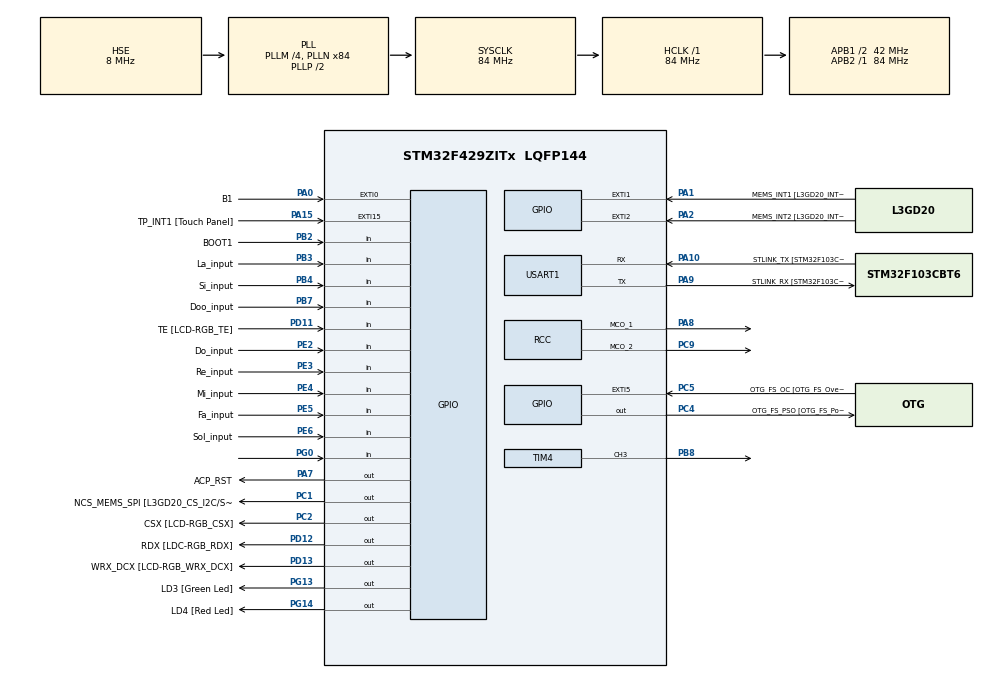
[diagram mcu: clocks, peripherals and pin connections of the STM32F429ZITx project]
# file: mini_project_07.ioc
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Mcu.Family=STM32F4
Mcu.Name=STM32F429ZITx
Mcu.Package=LQFP144
NVIC.EXTI0_IRQn=true\:0\:0\:false\:false\:true\:true\:true\:true
NVIC.PriorityGroup=NVIC_PRIORITYGROUP_4
NVIC.TIM3_IRQn=true\:0\:0\:false\:false\:true\:true\:true\:true
NVIC.TIM4_IRQn=true\:0\:0\:false\:false\:true\:true\:true\:true
PA0/WKUP.GPIO_Label=B1
PA0/WKUP.Signal=GPXTI0
PA1.GPIO_Label=MEMS_INT1 [L3GD20_INT1]
PA1.GPIO_ModeDefaultEXTI=GPIO_MODE_EVT_RISING
PA1.GPIO_PuPd=GPIO_NOPULL
PA1.Signal=GPXTI1
PA10.GPIO_Label=STLINK_TX [STM32F103CBT6_PA2]
PA10.Mode=Asynchronous
PA10.Signal=USART1_RX
PA11.GPIO_Label=R4
PA11.GPIO_Mode=GPIO_MODE_AF_PP
PA11.GPIO_PuPd=GPIO_NOPULL
PA11.GPIO_Speed=GPIO_SPEED_FREQ_LOW
PA11.Signal=LTDC_R4
PA12.GPIO_Label=R5
PA12.GPIO_Mode=GPIO_MODE_AF_PP
PA12.GPIO_PuPd=GPIO_NOPULL
PA12.GPIO_Speed=GPIO_SPEED_FREQ_LOW
PA12.Signal=LTDC_R5
PA13.GPIO_Label=SWDIO
PA13.Mode=Serial_Wire
PA13.Signal=SYS_JTMS-SWDIO
PA14.GPIO_Label=SWCLK
PA14.Mode=Serial_Wire
PA14.Signal=SYS_JTCK-SWCLK
PA15.GPIO_Label=TP_INT1 [Touch Panel]
PA15.GPIO_ModeDefaultEXTI=GPIO_MODE_EVT_RISING
PA15.GPIO_PuPd=GPIO_NOPULL
PA15.Signal=GPXTI15
PA2.GPIO_Label=MEMS_INT2 [L3GD20_INT2]
PA2.GPIO_ModeDefaultEXTI=GPIO_MODE_EVT_RISING
PA2.GPIO_PuPd=GPIO_NOPULL
PA2.Signal=GPXTI2
PA3.GPIO_Label=B5
PA3.GPIO_Mode=GPIO_MODE_AF_PP
PA3.GPIO_PuPd=GPIO_NOPULL
PA3.GPIO_Speed=GPIO_SPEED_FREQ_LOW
PA3.Signal=LTDC_B5
PA4.GPIO_Label=VSYNC
PA4.GPIO_Mode=GPIO_MODE_AF_PP
PA4.GPIO_PuPd=GPIO_NOPULL
PA4.GPIO_Speed=GPIO_SPEED_FREQ_LOW
PA4.Signal=LTDC_VSYNC
PA6.GPIO_Label=G2
PA6.GPIO_Mode=GPIO_MODE_AF_PP
PA6.GPIO_PuPd=GPIO_NOPULL
PA6.GPIO_Speed=GPIO_SPEED_FREQ_LOW
PA6.Signal=LTDC_G2
PA7.GPIO_Label=ACP_RST
PA7.GPIO_Mode=GPIO_MODE_OUTPUT_PP
PA7.GPIO_PuPd=GPIO_NOPULL
PA7.GPIO_Speed=GPIO_SPEED_FREQ_LOW
PA7.Signal=GPIO_Output
PA8.Mode=Clock-out-1
PA8.Signal=RCC_MCO_1
PA9.GPIO_Label=STLINK_RX [STM32F103CBT6_PA3]
PA9.Mode=Asynchronous
PA9.Signal=USART1_TX
PB0.GPIO_Label=R3
PB0.GPIO_Mode=GPIO_MODE_AF_PP
PB0.GPIO_PuPd=GPIO_NOPULL
PB0.GPIO_Speed=GPIO_SPEED_FREQ_LOW
PB0.Signal=LTDC_R3
PB1.GPIO_Label=R6
PB1.GPIO_Mode=GPIO_MODE_AF_PP
PB1.GPIO_PuPd=GPIO_NOPULL
PB1.GPIO_Speed=GPIO_SPEED_FREQ_LOW
PB1.Signal=LTDC_R6
PB10.GPIO_Label=G4
PB10.GPIO_Mode=GPIO_MODE_AF_PP
PB10.GPIO_PuPd=GPIO_NOPULL
PB10.GPIO_Speed=GPIO_SPEED_FREQ_LOW
PB10.Signal=LTDC_G4
PB11.GPIO_Label=G5
PB11.GPIO_Mode=GPIO_MODE_AF_PP
PB11.GPIO_PuPd=GPIO_NOPULL
PB11.GPIO_Speed=GPIO_SPEED_FREQ_LOW
PB11.Signal=LTDC_G5
PB12.GPIO_Label=OTG_HS_ID
PB12.GPIO_Mode=GPIO_MODE_AF_PP
PB12.GPIO_PuPd=GPIO_NOPULL
PB12.GPIO_Speed=GPIO_SPEED_FREQ_LOW
PB12.Signal=USB_OTG_HS_ID
PB13.GPIO_Label=VBUS_HS
PB13.GPIO_Mode=GPIO_MODE_INPUT
PB13.GPIO_PuPd=GPIO_NOPULL
PB13.Signal=USB_OTG_HS_VBUS
PB14.GPIO_Label=OTG_HS_DM
PB14.GPIO_Mode=GPIO_MODE_AF_PP
PB14.GPIO_PuPd=GPIO_NOPULL
PB14.GPIO_Speed=GPIO_SPEED_FREQ_LOW
PB14.Signal=USB_OTG_HS_DM
PB15.GPIO_Label=OTG_HS_DP
PB15.GPIO_Mode=GPIO_MODE_AF_PP
PB15.GPIO_PuPd=GPIO_NOPULL
PB15.GPIO_Speed=GPIO_SPEED_FREQ_LOW
PB15.Signal=USB_OTG_HS_DP
PB2/BOOT1.GPIO_Label=BOOT1
PB2/BOOT1.GPIO_Mode=GPIO_MODE_INPUT
PB2/BOOT1.GPIO_PuPd=GPIO_NOPULL
PB2/BOOT1.Signal=GPIO_Input
PB3.GPIO_Label=La_input
PB3.GPIO_PuPd=GPIO_PULLDOWN
PB3.Signal=GPIO_Input
PB4.GPIO_Label=Si_input
PB4.GPIO_PuPd=GPIO_PULLDOWN
PB4.Signal=GPIO_Input
PB5.GPIO_Label=SDCKE1
PB5.GPIO_Mode=GPIO_MODE_AF_PP
PB5.GPIO_PuPd=GPIO_NOPULL
PB5.GPIO_Speed=GPIO_SPEED_FREQ_VERY_HIGH
PB5.Signal=FMC_SDCKE1
PB6.GPIO_Label=SDNE1 [SDRAM_CS]
PB6.GPIO_Mode=GPIO_MODE_AF_PP
PB6.GPIO_PuPd=GPIO_NOPULL
PB6.GPIO_Speed=GPIO_SPEED_FREQ_VERY_HIGH
PB6.Signal=FMC_SDNE1
PB7.GPIO_Label=Doo_input
PB7.GPIO_PuPd=GPIO_PULLDOWN
PB7.Signal=GPIO_Input
PB8.Signal=S_TIM4_CH3
PB9.GPIO_Label=B7
PB9.GPIO_Mode=GPIO_MODE_AF_PP
PB9.GPIO_PuPd=GPIO_NOPULL
PB9.GPIO_Speed=GPIO_SPEED_FREQ_LOW
PB9.Signal=LTDC_B7
PC0.GPIO_Label=SDNWE
PC0.GPIO_Mode=GPIO_MODE_AF_PP
PC0.GPIO_PuPd=GPIO_NOPULL
PC0.GPIO_Speed=GPIO_SPEED_FREQ_VERY_HIGH
PC0.Signal=FMC_SDNWE
PC1.GPIO_Label=NCS_MEMS_SPI [L3GD20_CS_I2C/SPI]
PC1.GPIO_Mode=GPIO_MODE_OUTPUT_PP
PC1.GPIO_PuPd=GPIO_NOPULL
PC1.GPIO_Speed=GPIO_SPEED_FREQ_LOW
PC1.Signal=GPIO_Output
PC10.GPIO_Label=R2
PC10.GPIO_Mode=GPIO_MODE_AF_PP
PC10.GPIO_PuPd=GPIO_NOPULL
PC10.GPIO_Speed=GPIO_SPEED_FREQ_LOW
PC10.Signal=LTDC_R2
PC14/OSC32_IN.GPIO_Label=PC14-OSC32_IN
PC14/OSC32_IN.Signal=RCC_OSC32_IN
PC15/OSC32_OUT.GPIO_Label=PC15-OSC32_OUT
PC15/OSC32_OUT.Signal=RCC_OSC32_OUT
PC2.GPIO_Label=CSX [LCD-RGB_CSX]
PC2.GPIO_Mode=GPIO_MODE_OUTPUT_PP
PC2.GPIO_PuPd=GPIO_NOPULL
PC2.GPIO_Speed=GPIO_SPEED_FREQ_LOW
PC2.Signal=GPIO_Output
PC4.GPIO_Label=OTG_FS_PSO [OTG_FS_PowerSwitchOn]
PC4.GPIO_Mode=GPIO_MODE_OUTPUT_PP
PC4.GPIO_PuPd=GPIO_NOPULL
PC4.GPIO_Speed=GPIO_SPEED_FREQ_LOW
PC4.Signal=GPIO_Output
PC5.GPIO_Label=OTG_FS_OC [OTG_FS_OverCurrent]
PC5.GPIO_ModeDefaultEXTI=GPIO_MODE_EVT_RISING
PC5.Signal=GPXTI5
PC6.GPIO_Label=HSYNC
PC6.GPIO_Mode=GPIO_MODE_AF_PP
PC6.GPIO_PuPd=GPIO_NOPULL
PC6.GPIO_Speed=GPIO_SPEED_FREQ_LOW
PC6.Signal=LTDC_HSYNC
PC7.GPIO_Label=G6
PC7.GPIO_Mode=GPIO_MODE_AF_PP
PC7.GPIO_PuPd=GPIO_NOPULL
PC7.GPIO_Speed=GPIO_SPEED_FREQ_LOW
PC7.Signal=LTDC_G6
PC9.Mode=Clock-out-2
PC9.Signal=RCC_MCO_2
PD0.GPIO_Label=D2
PD0.GPIO_Mode=GPIO_MODE_AF_PP
PD0.GPIO_PuPd=GPIO_NOPULL
PD0.GPIO_Speed=GPIO_SPEED_FREQ_VERY_HIGH
PD0.Signal=FMC_D2_DA2
PD1.GPIO_Label=D3
PD1.GPIO_Mode=GPIO_MODE_AF_PP
PD1.GPIO_PuPd=GPIO_NOPULL
PD1.GPIO_Speed=GPIO_SPEED_FREQ_VERY_HIGH
PD1.Signal=FMC_D3_DA3
PD10.GPIO_Label=D15
PD10.GPIO_Mode=GPIO_MODE_AF_PP
PD10.GPIO_PuPd=GPIO_NOPULL
PD10.GPIO_Speed=GPIO_SPEED_FREQ_VERY_HIGH
PD10.Signal=FMC_D15_DA15
PD11.GPIO_Label=TE [LCD-RGB_TE]
PD11.GPIO_Mode=GPIO_MODE_INPUT
PD11.GPIO_PuPd=GPIO_NOPULL
PD11.Signal=GPIO_Input
PD12.GPIO_Label=RDX [LDC-RGB_RDX]
PD12.GPIO_Mode=GPIO_MODE_OUTPUT_PP
PD12.GPIO_PuPd=GPIO_NOPULL
PD12.GPIO_Speed=GPIO_SPEED_FREQ_LOW
PD12.Signal=GPIO_Output
PD13.GPIO_Label=WRX_DCX [LCD-RGB_WRX_DCX]
PD13.GPIO_Mode=GPIO_MODE_OUTPUT_PP
PD13.GPIO_PuPd=GPIO_NOPULL
PD13.GPIO_Speed=GPIO_SPEED_FREQ_LOW
PD13.Signal=GPIO_Output
PD14.GPIO_Label=D0
PD14.GPIO_Mode=GPIO_MODE_AF_PP
PD14.GPIO_PuPd=GPIO_NOPULL
PD14.GPIO_Speed=GPIO_SPEED_FREQ_VERY_HIGH
PD14.Signal=FMC_D0_DA0
PD15.GPIO_Label=D1
PD15.GPIO_Mode=GPIO_MODE_AF_PP
PD15.GPIO_PuPd=GPIO_NOPULL
PD15.GPIO_Speed=GPIO_SPEED_FREQ_VERY_HIGH
PD15.Signal=FMC_D1_DA1
PD3.GPIO_Label=G7
PD3.GPIO_Mode=GPIO_MODE_AF_PP
PD3.GPIO_PuPd=GPIO_NOPULL
PD3.GPIO_Speed=GPIO_SPEED_FREQ_LOW
PD3.Signal=LTDC_G7
PD6.GPIO_Label=B2
PD6.GPIO_Mode=GPIO_MODE_AF_PP
PD6.GPIO_PuPd=GPIO_NOPULL
PD6.GPIO_Speed=GPIO_SPEED_FREQ_LOW
PD6.Signal=LTDC_B2
PD8.GPIO_Label=D13
PD8.GPIO_Mode=GPIO_MODE_AF_PP
PD8.GPIO_PuPd=GPIO_NOPULL
PD8.GPIO_Speed=GPIO_SPEED_FREQ_VERY_HIGH
PD8.Signal=FMC_D13_DA13
PD9.GPIO_Label=D14
PD9.GPIO_Mode=GPIO_MODE_AF_PP
PD9.GPIO_PuPd=GPIO_NOPULL
PD9.GPIO_Speed=GPIO_SPEED_FREQ_VERY_HIGH
PD9.Signal=FMC_D14_DA14
PE0.GPIO_Label=NBL0 [SDRAM_LDQM]
PE0.GPIO_Mode=GPIO_MODE_AF_PP
PE0.GPIO_PuPd=GPIO_NOPULL
PE0.GPIO_Speed=GPIO_SPEED_FREQ_VERY_HIGH
PE0.Signal=FMC_NBL0
PE1.GPIO_Label=NBL1 [SDRAM_UDQM]
PE1.GPIO_Mode=GPIO_MODE_AF_PP
PE1.GPIO_PuPd=GPIO_NOPULL
PE1.GPIO_Speed=GPIO_SPEED_FREQ_VERY_HIGH
PE1.Signal=FMC_NBL1
PE10.GPIO_Label=D7
PE10.GPIO_Mode=GPIO_MODE_AF_PP
PE10.GPIO_PuPd=GPIO_NOPULL
PE10.GPIO_Speed=GPIO_SPEED_FREQ_VERY_HIGH
PE10.Signal=FMC_D7_DA7
PE11.GPIO_Label=D8
PE11.GPIO_Mode=GPIO_MODE_AF_PP
PE11.GPIO_PuPd=GPIO_NOPULL
PE11.GPIO_Speed=GPIO_SPEED_FREQ_VERY_HIGH
PE11.Signal=FMC_D8_DA8
PE12.GPIO_Label=D9
PE12.GPIO_Mode=GPIO_MODE_AF_PP
PE12.GPIO_PuPd=GPIO_NOPULL
PE12.GPIO_Speed=GPIO_SPEED_FREQ_VERY_HIGH
PE12.Signal=FMC_D9_DA9
PE13.GPIO_Label=D10
PE13.GPIO_Mode=GPIO_MODE_AF_PP
PE13.GPIO_PuPd=GPIO_NOPULL
PE13.GPIO_Speed=GPIO_SPEED_FREQ_VERY_HIGH
PE13.Signal=FMC_D10_DA10
PE14.GPIO_Label=D11
PE14.GPIO_Mode=GPIO_MODE_AF_PP
PE14.GPIO_PuPd=GPIO_NOPULL
PE14.GPIO_Speed=GPIO_SPEED_FREQ_VERY_HIGH
PE14.Signal=FMC_D11_DA11
PE15.GPIO_Label=D12
PE15.GPIO_Mode=GPIO_MODE_AF_PP
PE15.GPIO_PuPd=GPIO_NOPULL
PE15.GPIO_Speed=GPIO_SPEED_FREQ_VERY_HIGH
PE15.Signal=FMC_D12_DA12
PE2.GPIO_Label=Do_input
PE2.GPIO_PuPd=GPIO_PULLDOWN
PE2.Signal=GPIO_Input
PE3.GPIO_Label=Re_input
PE3.GPIO_PuPd=GPIO_PULLDOWN
PE3.Signal=GPIO_Input
PE4.GPIO_Label=Mi_input
PE4.GPIO_PuPd=GPIO_PULLDOWN
PE4.Signal=GPIO_Input
PE5.GPIO_Label=Fa_input
PE5.GPIO_PuPd=GPIO_PULLDOWN
PE5.Signal=GPIO_Input
PE6.GPIO_Label=Sol_input
PE6.GPIO_PuPd=GPIO_PULLDOWN
PE6.Signal=GPIO_Input
PE7.GPIO_Label=D4
PE7.GPIO_Mode=GPIO_MODE_AF_PP
PE7.GPIO_PuPd=GPIO_NOPULL
PE7.GPIO_Speed=GPIO_SPEED_FREQ_VERY_HIGH
PE7.Signal=FMC_D4_DA4
PE8.GPIO_Label=D5
PE8.GPIO_Mode=GPIO_MODE_AF_PP
PE8.GPIO_PuPd=GPIO_NOPULL
PE8.GPIO_Speed=GPIO_SPEED_FREQ_VERY_HIGH
PE8.Signal=FMC_D5_DA5
PE9.GPIO_Label=D6
PE9.GPIO_Mode=GPIO_MODE_AF_PP
PE9.GPIO_PuPd=GPIO_NOPULL
PE9.GPIO_Speed=GPIO_SPEED_FREQ_VERY_HIGH
PE9.Signal=FMC_D6_DA6
PF0.GPIO_Label=A0
PF0.GPIO_Mode=GPIO_MODE_AF_PP
PF0.GPIO_PuPd=GPIO_NOPULL
PF0.GPIO_Speed=GPIO_SPEED_FREQ_VERY_HIGH
PF0.Signal=FMC_A0
PF1.GPIO_Label=A1
PF1.GPIO_Mode=GPIO_MODE_AF_PP
PF1.GPIO_PuPd=GPIO_NOPULL
PF1.GPIO_Speed=GPIO_SPEED_FREQ_VERY_HIGH
PF1.Signal=FMC_A1
PF10.GPIO_Label=ENABLE [LCD-RGB_ENABLE]
PF10.GPIO_Mode=GPIO_MODE_AF_PP
PF10.GPIO_PuPd=GPIO_NOPULL
PF10.GPIO_Speed=GPIO_SPEED_FREQ_LOW
PF10.Signal=LTDC_DE
PF11.GPIO_Label=SDNRAS
PF11.GPIO_Mode=GPIO_MODE_AF_PP
PF11.GPIO_PuPd=GPIO_NOPULL
PF11.GPIO_Speed=GPIO_SPEED_FREQ_VERY_HIGH
PF11.Signal=FMC_SDNRAS
PF12.GPIO_Label=A6
PF12.GPIO_Mode=GPIO_MODE_AF_PP
PF12.GPIO_PuPd=GPIO_NOPULL
PF12.GPIO_Speed=GPIO_SPEED_FREQ_VERY_HIGH
PF12.Signal=FMC_A6
PF13.GPIO_Label=A7
PF13.GPIO_Mode=GPIO_MODE_AF_PP
PF13.GPIO_PuPd=GPIO_NOPULL
PF13.GPIO_Speed=GPIO_SPEED_FREQ_VERY_HIGH
PF13.Signal=FMC_A7
PF14.GPIO_Label=A8
PF14.GPIO_Mode=GPIO_MODE_AF_PP
PF14.GPIO_PuPd=GPIO_NOPULL
PF14.GPIO_Speed=GPIO_SPEED_FREQ_VERY_HIGH
PF14.Signal=FMC_A8
PF15.GPIO_Label=A9
PF15.GPIO_Mode=GPIO_MODE_AF_PP
PF15.GPIO_PuPd=GPIO_NOPULL
PF15.GPIO_Speed=GPIO_SPEED_FREQ_VERY_HIGH
PF15.Signal=FMC_A9
PF2.GPIO_Label=A2
PF2.GPIO_Mode=GPIO_MODE_AF_PP
PF2.GPIO_PuPd=GPIO_NOPULL
PF2.GPIO_Speed=GPIO_SPEED_FREQ_VERY_HIGH
PF2.Signal=FMC_A2
PF3.GPIO_Label=A3
PF3.GPIO_Mode=GPIO_MODE_AF_PP
PF3.GPIO_PuPd=GPIO_NOPULL
PF3.GPIO_Speed=GPIO_SPEED_FREQ_VERY_HIGH
PF3.Signal=FMC_A3
PF4.GPIO_Label=A4
PF4.GPIO_Mode=GPIO_MODE_AF_PP
PF4.GPIO_PuPd=GPIO_NOPULL
PF4.GPIO_Speed=GPIO_SPEED_FREQ_VERY_HIGH
PF4.Signal=FMC_A4
PF5.GPIO_Label=A5
PF5.GPIO_Mode=GPIO_MODE_AF_PP
PF5.GPIO_PuPd=GPIO_NOPULL
PF5.GPIO_Speed=GPIO_SPEED_FREQ_VERY_HIGH
PF5.Signal=FMC_A5
PF7.GPIO_Label=SPI5_SCK [L3GD20_SCL/SPC]
PF7.GPIO_Mode=GPIO_MODE_AF_PP
PF7.GPIO_PuPd=GPIO_NOPULL
PF7.GPIO_Speed=GPIO_SPEED_FREQ_LOW
PF7.Signal=SPI5_SCK
PF8.GPIO_Label=SPI5_MISO [L3GD20_SDO]
PF8.GPIO_Mode=GPIO_MODE_AF_PP
PF8.GPIO_PuPd=GPIO_NOPULL
PF8.GPIO_Speed=GPIO_SPEED_FREQ_LOW
PF8.Signal=SPI5_MISO
PF9.GPIO_Label=SPI5_MOSI [L3GD20_SDA/SDI/SDO]
PF9.GPIO_Mode=GPIO_MODE_AF_PP
PF9.GPIO_PuPd=GPIO_NOPULL
PF9.GPIO_Speed=GPIO_SPEED_FREQ_LOW
PF9.Signal=SPI5_MOSI
PG0.Signal=GPIO_Input
PG1.GPIO_Label=A11
PG1.GPIO_Mode=GPIO_MODE_AF_PP
PG1.GPIO_PuPd=GPIO_NOPULL
PG1.GPIO_Speed=GPIO_SPEED_FREQ_VERY_HIGH
PG1.Signal=FMC_A11
PG10.GPIO_Label=G3
PG10.GPIO_Mode=GPIO_MODE_AF_PP
PG10.GPIO_PuPd=GPIO_NOPULL
PG10.GPIO_Speed=GPIO_SPEED_FREQ_LOW
PG10.Signal=LTDC_G3
PG11.GPIO_Label=B3
PG11.GPIO_Mode=GPIO_MODE_AF_PP
PG11.GPIO_PuPd=GPIO_NOPULL
PG11.GPIO_Speed=GPIO_SPEED_FREQ_LOW
PG11.Signal=LTDC_B3
PG12.GPIO_Label=B4
PG12.GPIO_Mode=GPIO_MODE_AF_PP
PG12.GPIO_PuPd=GPIO_NOPULL
PG12.GPIO_Speed=GPIO_SPEED_FREQ_LOW
PG12.Signal=LTDC_B4
PG13.GPIO_Label=LD3 [Green Led]
PG13.GPIO_Mode=GPIO_MODE_OUTPUT_PP
PG13.GPIO_PuPd=GPIO_NOPULL
PG13.GPIO_Speed=GPIO_SPEED_FREQ_LOW
PG13.Signal=GPIO_Output
PG14.GPIO_Label=LD4 [Red Led]
PG14.GPIO_Mode=GPIO_MODE_OUTPUT_PP
PG14.GPIO_PuPd=GPIO_NOPULL
PG14.GPIO_Speed=GPIO_SPEED_FREQ_LOW
PG14.Signal=GPIO_Output
PG15.GPIO_Label=SDNCAS
PG15.GPIO_Mode=GPIO_MODE_AF_PP
PG15.GPIO_PuPd=GPIO_NOPULL
PG15.GPIO_Speed=GPIO_SPEED_FREQ_VERY_HIGH
PG15.Signal=FMC_SDNCAS
PG4.GPIO_Label=BA0
PG4.GPIO_Mode=GPIO_MODE_AF_PP
PG4.GPIO_PuPd=GPIO_NOPULL
PG4.GPIO_Speed=GPIO_SPEED_FREQ_VERY_HIGH
PG4.Signal=FMC_A14_BA0
PG5.GPIO_Label=BA1
PG5.GPIO_Mode=GPIO_MODE_AF_PP
PG5.GPIO_PuPd=GPIO_NOPULL
PG5.GPIO_Speed=GPIO_SPEED_FREQ_VERY_HIGH
PG5.Signal=FMC_A15_BA1
PG6.GPIO_Label=R7
PG6.GPIO_Mode=GPIO_MODE_AF_PP
PG6.GPIO_PuPd=GPIO_NOPULL
PG6.GPIO_Speed=GPIO_SPEED_FREQ_LOW
PG6.Signal=LTDC_R7
PG7.GPIO_Label=DOTCLK [LCT-RGB_DOTCLK]
PG7.GPIO_Mode=GPIO_MODE_AF_PP
PG7.GPIO_PuPd=GPIO_NOPULL
PG7.GPIO_Speed=GPIO_SPEED_FREQ_LOW
PG7.Signal=LTDC_CLK
PG8.GPIO_Label=SDCLK
PG8.GPIO_Mode=GPIO_MODE_AF_PP
PG8.GPIO_PuPd=GPIO_NOPULL
PG8.GPIO_Speed=GPIO_SPEED_FREQ_VERY_HIGH
PG8.Signal=FMC_SDCLK
PH0/OSC_IN.GPIO_Label=PH0-OSC_IN
PH0/OSC_IN.Mode=HSE-External-Oscillator
PH0/OSC_IN.Signal=RCC_OSC_IN
PH1/OSC_OUT.GPIO_Label=PH1-OSC_OUT
PH1/OSC_OUT.Mode=HSE-External-Oscillator
PH1/OSC_OUT.Signal=RCC_OSC_OUT
ProjectManager.HeapSize=0x200
ProjectManager.StackSize=0x400
ProjectManager.TargetToolchain=STM32CubeIDE
RCC.48MHZClocksFreq_Value=56000000
RCC.AHBFreq_Value=84000000
RCC.APB1CLKDivider=RCC_HCLK_DIV2
RCC.APB1Freq_Value=42000000
RCC.APB1TimFreq_Value=84000000
RCC.APB2Freq_Value=84000000
RCC.APB2TimFreq_Value=84000000
RCC.CortexFreq_Value=84000000
RCC.HCLKFreq_Value=84000000
RCC.HSE_VALUE=8000000
RCC.HSI_VALUE=16000000
RCC.LSE_VALUE=32768
RCC.PLLM=4
RCC.PLLN=84
RCC.PLLQ=3
RCC.PLLSAIN=50
RCC.PLLSourceVirtual=RCC_PLLSOURCE_HSE
RCC.SYSCLKFreq_VALUE=84000000
RCC.SYSCLKSource=RCC_SYSCLKSOURCE_PLLCLK
RCC.VCOOutputFreq_Value=168000000
SH.FMC_A0.0=FMC_A0
SH.FMC_A1.0=FMC_A1
SH.FMC_A11.0=FMC_A11
SH.FMC_A14_BA0.0=FMC_BA0
SH.FMC_A15_BA1.0=FMC_BA1
SH.FMC_A2.0=FMC_A2
SH.FMC_A3.0=FMC_A3
SH.FMC_A4.0=FMC_A4
SH.FMC_A5.0=FMC_A5
SH.FMC_A6.0=FMC_A6
SH.FMC_A7.0=FMC_A7
SH.FMC_A8.0=FMC_A8
SH.FMC_A9.0=FMC_A9
SH.FMC_D0_DA0.0=FMC_D0
SH.FMC_D10_DA10.0=FMC_D10
SH.FMC_D11_DA11.0=FMC_D11
SH.FMC_D12_DA12.0=FMC_D12
SH.FMC_D13_DA13.0=FMC_D13
SH.FMC_D14_DA14.0=FMC_D14
SH.FMC_D15_DA15.0=FMC_D15
SH.FMC_D1_DA1.0=FMC_D1
SH.FMC_D2_DA2.0=FMC_D2
SH.FMC_D3_DA3.0=FMC_D3
SH.FMC_D4_DA4.0=FMC_D4
SH.FMC_D5_DA5.0=FMC_D5
SH.FMC_D6_DA6.0=FMC_D6
SH.FMC_D7_DA7.0=FMC_D7
SH.FMC_D8_DA8.0=FMC_D8
SH.FMC_D9_DA9.0=FMC_D9
SH.FMC_NBL0.0=FMC_NBL0
SH.FMC_NBL1.0=FMC_NBL1
SH.FMC_SDCLK.0=FMC_SDCLK
SH.FMC_SDNCAS.0=FMC_SDNCAS
SH.FMC_SDNRAS.0=FMC_SDNRAS
SH.FMC_SDNWE.0=FMC_SDNWE
SH.S_TIM4_CH3.0=TIM4_CH3,PWM Generation3 CH3
TIM3.Channel-PWM\ Generation3\ No\ Output=TIM_CHANNEL_3
TIM3.Prescaler=255
TIM4.AutoReloadPreload=TIM_AUTORELOAD_PRELOAD_ENABLE
TIM4.Channel-PWM\ Generation3\ CH3=TIM_CHANNEL_3
TIM4.CounterMode=TIM_COUNTERMODE_DOWN
TIM4.Period=1000
TIM4.Prescaler=83
TIM4.Pulse-PWM\ Generation3\ CH3=500
USART1.VirtualMode=VM_ASYNC
VP_TIM3_VS_ClockSourceINT.Mode=Internal
VP_TIM3_VS_no_output3.Mode=PWM Generation3 No Output
VP_TIM4_VS_ClockSourceINT.Mode=Internal
board=STM32F429I-DISC1

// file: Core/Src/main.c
/* USER CODE BEGIN Header */
/**
  ******************************************************************************
  * @file           : main.c
  * @brief          : Main program body
  ******************************************************************************
  * @attention
  *
  * Copyright (c) 2022 STMicroelectronics.
  * All rights reserved.
  *
  * This software is licensed under terms that can be found in the LICENSE file
  * in the root directory of this software component.
  * If no LICENSE file comes with this software, it is provided AS-IS.
  *
  ******************************************************************************
  */
/* USER CODE END Header */
#include "main.h"

/* USER CODE BEGIN Includes */
#include <stdio.h>
#include <string.h>

/* USER CODE END Includes */

/* USER CODE BEGIN PTD */
extern unsigned int hwtick;
/* USER CODE END PTD */

TIM_HandleTypeDef htim3;
TIM_HandleTypeDef htim4;

UART_HandleTypeDef huart1;

void SystemClock_Config(void);
static void MX_GPIO_Init(void);
static void MX_USART1_UART_Init(void);
static void MX_TIM4_Init(void);
static void MX_TIM3_Init(void);

/* USER CODE BEGIN 0 */
int __io_putchar(int ch)
{
 if ( ch == '\n' )
	 HAL_UART_Transmit(&huart1, (uint8_t*)&"\r", 1, HAL_MAX_DELAY);
 HAL_UART_Transmit(&huart1, (uint8_t*)&ch, 1, HAL_MAX_DELAY);
 return ch;
}

int __io_getchar(void)
{
	uint8_t ch;

	while( HAL_OK != HAL_UART_Receive(&huart1, &ch, 1, HAL_MAX_DELAY) )
	{
		;
	}
	return ch;
}

void playKey(int k){
	switch(k){
	case 1:
		TIM4->PSC = 383;
		TIM4->CCR3 = 500;
		break;
	case 2:
		TIM4->PSC = 340;
		TIM4->CCR3 = 500;
		break;
	case 3:
		TIM4->PSC = 304;
		TIM4->CCR3 = 500;
		break;
	case 4 :
		TIM4->PSC = 287;
		TIM4->CCR3 = 500;
			break;
	case 5 :
		TIM4->PSC = 255;
		TIM4->CCR3 = 500;
			break;
	case 6 :
		TIM4->PSC = 227;
		TIM4->CCR3 = 500;
			break;
	case 7 :
		TIM4->PSC = 202;
		TIM4->CCR3 = 500;
			break;
	case 8  :
		TIM4->PSC = 191;
		TIM4->CCR3 = 500;
			break;
	default:
		TIM4->CCR3 = 0;
			break;
	}
}
void playRecord(uint32_t** rec){

}
/* USER CODE END 0 */

int main(void)
{
  /* USER CODE BEGIN 1 */
	uint32_t rec[100][2]={0,};
	int i=1;
	int cntNow =0;
	int playingKey = 0;
	int isRecording = 0;
	int prev_Doo_State=0;
	int curr_Doo_State=0;
  /* USER CODE END 1 */

  /* MCU Configuration--------------------------------------------------------*/

  /* Reset of all peripherals, Initializes the Flash interface and the Systick. */
  HAL_Init();

  /* Configure the system clock */
  SystemClock_Config();

  /* Initialize all configured peripherals */
  MX_GPIO_Init();
  MX_USART1_UART_Init();
  MX_TIM4_Init();
  MX_TIM3_Init();
  /* USER CODE BEGIN 2 */

  //HAL_TIM_Base_Start_IT(&htim4);
  HAL_TIM_PWM_Start(&htim4, TIM_CHANNEL_3);
  HAL_TIM_Base_Start(&htim3);
  /* USER CODE END 2 */

  /* Infinite loop */
  /* USER CODE BEGIN WHILE */
  while (1)
  {
	  if(HAL_GPIO_ReadPin(Do_input_GPIO_Port,Do_input_Pin))      playingKey = 1;
	        else if(HAL_GPIO_ReadPin(Re_input_GPIO_Port,Re_input_Pin)) playingKey = 2;
	        else if(HAL_GPIO_ReadPin(Mi_input_GPIO_Port,Mi_input_Pin)) playingKey = 3;
	        else if(HAL_GPIO_ReadPin(Fa_input_GPIO_Port,Fa_input_Pin)) playingKey = 4;
	        else if(HAL_GPIO_ReadPin(Sol_input_GPIO_Port,Sol_input_Pin)) playingKey = 5;
	        else if(HAL_GPIO_ReadPin(La_input_GPIO_Port,La_input_Pin))   playingKey = 6;
	        else if(HAL_GPIO_ReadPin(Si_input_GPIO_Port,Si_input_Pin))   playingKey = 7;
	        else if(HAL_GPIO_ReadPin(Doo_input_GPIO_Port,Doo_input_Pin))  ;

	        else playingKey = 0;
	  	  curr_Doo_State = HAL_GPIO_ReadPin(Doo_input_GPIO_Port, Doo_input_Pin);

	          if (prev_Doo_State == 0 && curr_Doo_State == 1)
	          {
	              if (isRecording == 0) {
	                  i = 1;

	                  rec[0][0] = TIM3->CNT;
	                  rec[0][1] = 0;

	                  isRecording = 1;
	              }
	              else {
	                  isRecording = 0;
	                  playKey(0);

	                  for (int j = 1; j < i; j++)
	                  {
	                      playKey(rec[j][1]);

	                      uint32_t duration = 0;
	                      uint32_t current_time = rec[j][0];
	                      uint32_t next_time = 0;

	                      if (j < i - 1) next_time = rec[j+1][0];
	                      else next_time = current_time + 1000;

	                      if (next_time >= current_time) {
	                          duration = next_time - current_time;
	                      } else {
	                          duration = (65535 - current_time) + next_time;
	                      }

	                      if (duration > 0) HAL_Delay(duration / 41);
	                      else HAL_Delay(10);
	                  }

	                  playKey(0);
	                  printf("Playback Finished.\n");
	              }
	          }
	          prev_Doo_State = curr_Doo_State;

	          playKey(playingKey);

	          if (isRecording == 1) {
	              if (rec[i-1][1] != playingKey && i < 99) {
	                  rec[i][0] = TIM3->CNT;
	                  rec[i][1] = playingKey;
	                  i++;
	              }
	          }

	          HAL_Delay(10);
	      }
    /* USER CODE END WHILE */

}

void SystemClock_Config(void)
{
  RCC_OscInitTypeDef RCC_OscInitStruct = {0};
  RCC_ClkInitTypeDef RCC_ClkInitStruct = {0};

  /** Configure the main internal regulator output voltage
  */
  __HAL_RCC_PWR_CLK_ENABLE();
  __HAL_PWR_VOLTAGESCALING_CONFIG(PWR_REGULATOR_VOLTAGE_SCALE3);

  /** Initializes the RCC Oscillators according to the specified parameters
  * in the RCC_OscInitTypeDef structure.
  */
  RCC_OscInitStruct.OscillatorType = RCC_OSCILLATORTYPE_HSI|RCC_OSCILLATORTYPE_HSE;
  RCC_OscInitStruct.HSEState = RCC_HSE_ON;
  RCC_OscInitStruct.HSIState = RCC_HSI_ON;
  RCC_OscInitStruct.HSICalibrationValue = RCC_HSICALIBRATION_DEFAULT;
  RCC_OscInitStruct.PLL.PLLState = RCC_PLL_ON;
  RCC_OscInitStruct.PLL.PLLSource = RCC_PLLSOURCE_HSE;
  RCC_OscInitStruct.PLL.PLLM = 4;
  RCC_OscInitStruct.PLL.PLLN = 84;
  RCC_OscInitStruct.PLL.PLLP = RCC_PLLP_DIV2;
  RCC_OscInitStruct.PLL.PLLQ = 3;
  if (HAL_RCC_OscConfig(&RCC_OscInitStruct) != HAL_OK)
  {
    Error_Handler();
  }

  /** Initializes the CPU, AHB and APB buses clocks
  */
  RCC_ClkInitStruct.ClockType = RCC_CLOCKTYPE_HCLK|RCC_CLOCKTYPE_SYSCLK
                              |RCC_CLOCKTYPE_PCLK1|RCC_CLOCKTYPE_PCLK2;
  RCC_ClkInitStruct.SYSCLKSource = RCC_SYSCLKSOURCE_PLLCLK;
  RCC_ClkInitStruct.AHBCLKDivider = RCC_SYSCLK_DIV1;
  RCC_ClkInitStruct.APB1CLKDivider = RCC_HCLK_DIV2;
  RCC_ClkInitStruct.APB2CLKDivider = RCC_HCLK_DIV1;

  if (HAL_RCC_ClockConfig(&RCC_ClkInitStruct, FLASH_LATENCY_2) != HAL_OK)
  {
    Error_Handler();
  }
  HAL_RCC_MCOConfig(RCC_MCO1, RCC_MCO1SOURCE_HSI, RCC_MCODIV_1);
  HAL_RCC_MCOConfig(RCC_MCO2, RCC_MCO2SOURCE_SYSCLK, RCC_MCODIV_1);
}

static void MX_TIM3_Init(void)
{

  TIM_ClockConfigTypeDef sClockSourceConfig = {0};
  TIM_MasterConfigTypeDef sMasterConfig = {0};
  TIM_OC_InitTypeDef sConfigOC = {0};

  htim3.Instance = TIM3;
  htim3.Init.Prescaler = 2047;
  htim3.Init.CounterMode = TIM_COUNTERMODE_UP;
  htim3.Init.Period = 65535;
  htim3.Init.ClockDivision = TIM_CLOCKDIVISION_DIV1;
  htim3.Init.AutoReloadPreload = TIM_AUTORELOAD_PRELOAD_DISABLE;
  if (HAL_TIM_Base_Init(&htim3) != HAL_OK)
  {
    Error_Handler();
  }
  sClockSourceConfig.ClockSource = TIM_CLOCKSOURCE_INTERNAL;
  if (HAL_TIM_ConfigClockSource(&htim3, &sClockSourceConfig) != HAL_OK)
  {
    Error_Handler();
  }
  if (HAL_TIM_PWM_Init(&htim3) != HAL_OK)
  {
    Error_Handler();
  }
  sMasterConfig.MasterOutputTrigger = TIM_TRGO_RESET;
  sMasterConfig.MasterSlaveMode = TIM_MASTERSLAVEMODE_DISABLE;
  if (HAL_TIMEx_MasterConfigSynchronization(&htim3, &sMasterConfig) != HAL_OK)
  {
    Error_Handler();
  }
  sConfigOC.OCMode = TIM_OCMODE_PWM1;
  sConfigOC.Pulse = 0;
  sConfigOC.OCPolarity = TIM_OCPOLARITY_HIGH;
  sConfigOC.OCFastMode = TIM_OCFAST_DISABLE;
  if (HAL_TIM_PWM_ConfigChannel(&htim3, &sConfigOC, TIM_CHANNEL_3) != HAL_OK)
  {
    Error_Handler();
  }

}

static void MX_TIM4_Init(void)
{

  TIM_ClockConfigTypeDef sClockSourceConfig = {0};
  TIM_MasterConfigTypeDef sMasterConfig = {0};
  TIM_OC_InitTypeDef sConfigOC = {0};

  htim4.Instance = TIM4;
  htim4.Init.Prescaler = 83;
  htim4.Init.CounterMode = TIM_COUNTERMODE_DOWN;
  htim4.Init.Period = 1000;
  htim4.Init.ClockDivision = TIM_CLOCKDIVISION_DIV1;
  htim4.Init.AutoReloadPreload = TIM_AUTORELOAD_PRELOAD_ENABLE;
  if (HAL_TIM_Base_Init(&htim4) != HAL_OK)
  {
    Error_Handler();
  }
  sClockSourceConfig.ClockSource = TIM_CLOCKSOURCE_INTERNAL;
  if (HAL_TIM_ConfigClockSource(&htim4, &sClockSourceConfig) != HAL_OK)
  {
    Error_Handler();
  }
  if (HAL_TIM_PWM_Init(&htim4) != HAL_OK)
  {
    Error_Handler();
  }
  sMasterConfig.MasterOutputTrigger = TIM_TRGO_RESET;
  sMasterConfig.MasterSlaveMode = TIM_MASTERSLAVEMODE_DISABLE;
  if (HAL_TIMEx_MasterConfigSynchronization(&htim4, &sMasterConfig) != HAL_OK)
  {
    Error_Handler();
  }
  sConfigOC.OCMode = TIM_OCMODE_PWM1;
  sConfigOC.Pulse = 500;
  sConfigOC.OCPolarity = TIM_OCPOLARITY_HIGH;
  sConfigOC.OCFastMode = TIM_OCFAST_DISABLE;
  if (HAL_TIM_PWM_ConfigChannel(&htim4, &sConfigOC, TIM_CHANNEL_3) != HAL_OK)
  {
    Error_Handler();
  }
  HAL_TIM_MspPostInit(&htim4);

}

static void MX_USART1_UART_Init(void)
{

  huart1.Instance = USART1;
  huart1.Init.BaudRate = 115200;
  huart1.Init.WordLength = UART_WORDLENGTH_8B;
  huart1.Init.StopBits = UART_STOPBITS_1;
  huart1.Init.Parity = UART_PARITY_NONE;
  huart1.Init.Mode = UART_MODE_TX_RX;
  huart1.Init.HwFlowCtl = UART_HWCONTROL_NONE;
  huart1.Init.OverSampling = UART_OVERSAMPLING_16;
  if (HAL_UART_Init(&huart1) != HAL_OK)
  {
    Error_Handler();
  }

}

static void MX_GPIO_Init(void)
{
  GPIO_InitTypeDef GPIO_InitStruct = {0};

  /* GPIO Ports Clock Enable */
  __HAL_RCC_GPIOE_CLK_ENABLE();
  __HAL_RCC_GPIOC_CLK_ENABLE();
  __HAL_RCC_GPIOF_CLK_ENABLE();
  __HAL_RCC_GPIOH_CLK_ENABLE();
  __HAL_RCC_GPIOA_CLK_ENABLE();
  __HAL_RCC_GPIOB_CLK_ENABLE();
  __HAL_RCC_GPIOG_CLK_ENABLE();
  __HAL_RCC_GPIOD_CLK_ENABLE();

  /*Configure GPIO pin Output Level */
  HAL_GPIO_WritePin(GPIOC, NCS_MEMS_SPI_Pin|CSX_Pin|OTG_FS_PSO_Pin, GPIO_PIN_RESET);

  /*Configure GPIO pin Output Level */
  HAL_GPIO_WritePin(ACP_RST_GPIO_Port, ACP_RST_Pin, GPIO_PIN_RESET);

  /*Configure GPIO pin Output Level */
  HAL_GPIO_WritePin(GPIOD, RDX_Pin|WRX_DCX_Pin, GPIO_PIN_RESET);

  /*Configure GPIO pin Output Level */
  HAL_GPIO_WritePin(GPIOG, LD3_Pin|LD4_Pin, GPIO_PIN_RESET);

  /*Configure GPIO pins : Do_input_Pin Re_input_Pin Mi_input_Pin Fa_input_Pin
                           Sol_input_Pin */
  GPIO_InitStruct.Pin = Do_input_Pin|Re_input_Pin|Mi_input_Pin|Fa_input_Pin
                          |Sol_input_Pin;
  GPIO_InitStruct.Mode = GPIO_MODE_INPUT;
  GPIO_InitStruct.Pull = GPIO_PULLDOWN;
  HAL_GPIO_Init(GPIOE, &GPIO_InitStruct);

  /*Configure GPIO pins : A0_Pin A1_Pin A2_Pin A3_Pin
                           A4_Pin A5_Pin SDNRAS_Pin A6_Pin
                           A7_Pin A8_Pin A9_Pin */
  GPIO_InitStruct.Pin = A0_Pin|A1_Pin|A2_Pin|A3_Pin
                          |A4_Pin|A5_Pin|SDNRAS_Pin|A6_Pin
                          |A7_Pin|A8_Pin|A9_Pin;
  GPIO_InitStruct.Mode = GPIO_MODE_AF_PP;
  GPIO_InitStruct.Pull = GPIO_NOPULL;
  GPIO_InitStruct.Speed = GPIO_SPEED_FREQ_VERY_HIGH;
  GPIO_InitStruct.Alternate = GPIO_AF12_FMC;
  HAL_GPIO_Init(GPIOF, &GPIO_InitStruct);

  /*Configure GPIO pins : SPI5_SCK_Pin SPI5_MISO_Pin SPI5_MOSI_Pin */
  GPIO_InitStruct.Pin = SPI5_SCK_Pin|SPI5_MISO_Pin|SPI5_MOSI_Pin;
  GPIO_InitStruct.Mode = GPIO_MODE_AF_PP;
  GPIO_InitStruct.Pull = GPIO_NOPULL;
  GPIO_InitStruct.Speed = GPIO_SPEED_FREQ_LOW;
  GPIO_InitStruct.Alternate = GPIO_AF5_SPI5;
  HAL_GPIO_Init(GPIOF, &GPIO_InitStruct);

  /*Configure GPIO pin : ENABLE_Pin */
  GPIO_InitStruct.Pin = ENABLE_Pin;
  GPIO_InitStruct.Mode = GPIO_MODE_AF_PP;
  GPIO_InitStruct.Pull = GPIO_NOPULL;
  GPIO_InitStruct.Speed = GPIO_SPEED_FREQ_LOW;
  GPIO_InitStruct.Alternate = GPIO_AF14_LTDC;
  HAL_GPIO_Init(ENABLE_GPIO_Port, &GPIO_InitStruct);

  /*Configure GPIO pin : SDNWE_Pin */
  GPIO_InitStruct.Pin = SDNWE_Pin;
  GPIO_InitStruct.Mode = GPIO_MODE_AF_PP;
  GPIO_InitStruct.Pull = GPIO_NOPULL;
  GPIO_InitStruct.Speed = GPIO_SPEED_FREQ_VERY_HIGH;
  GPIO_InitStruct.Alternate = GPIO_AF12_FMC;
  HAL_GPIO_Init(SDNWE_GPIO_Port, &GPIO_InitStruct);

  /*Configure GPIO pins : NCS_MEMS_SPI_Pin CSX_Pin OTG_FS_PSO_Pin */
  GPIO_InitStruct.Pin = NCS_MEMS_SPI_Pin|CSX_Pin|OTG_FS_PSO_Pin;
  GPIO_InitStruct.Mode = GPIO_MODE_OUTPUT_PP;
  GPIO_InitStruct.Pull = GPIO_NOPULL;
  GPIO_InitStruct.Speed = GPIO_SPEED_FREQ_LOW;
  HAL_GPIO_Init(GPIOC, &GPIO_InitStruct);

  /*Configure GPIO pin : B1_Pin */
  GPIO_InitStruct.Pin = B1_Pin;
  GPIO_InitStruct.Mode = GPIO_MODE_IT_RISING;
  GPIO_InitStruct.Pull = GPIO_NOPULL;
  HAL_GPIO_Init(B1_GPIO_Port, &GPIO_InitStruct);

  /*Configure GPIO pins : MEMS_INT1_Pin MEMS_INT2_Pin TP_INT1_Pin */
  GPIO_InitStruct.Pin = MEMS_INT1_Pin|MEMS_INT2_Pin|TP_INT1_Pin;
  GPIO_InitStruct.Mode = GPIO_MODE_EVT_RISING;
  GPIO_InitStruct.Pull = GPIO_NOPULL;
  HAL_GPIO_Init(GPIOA, &GPIO_InitStruct);

  /*Configure GPIO pins : B5_Pin VSYNC_Pin G2_Pin R4_Pin
                           R5_Pin */
  GPIO_InitStruct.Pin = B5_Pin|VSYNC_Pin|G2_Pin|R4_Pin
                          |R5_Pin;
  GPIO_InitStruct.Mode = GPIO_MODE_AF_PP;
  GPIO_InitStruct.Pull = GPIO_NOPULL;
  GPIO_InitStruct.Speed = GPIO_SPEED_FREQ_LOW;
  GPIO_InitStruct.Alternate = GPIO_AF14_LTDC;
  HAL_GPIO_Init(GPIOA, &GPIO_InitStruct);

  /*Configure GPIO pin : ACP_RST_Pin */
  GPIO_InitStruct.Pin = ACP_RST_Pin;
  GPIO_InitStruct.Mode = GPIO_MODE_OUTPUT_PP;
  GPIO_InitStruct.Pull = GPIO_NOPULL;
  GPIO_InitStruct.Speed = GPIO_SPEED_FREQ_LOW;
  HAL_GPIO_Init(ACP_RST_GPIO_Port, &GPIO_InitStruct);

  /*Configure GPIO pin : OTG_FS_OC_Pin */
  GPIO_InitStruct.Pin = OTG_FS_OC_Pin;
  GPIO_InitStruct.Mode = GPIO_MODE_EVT_RISING;
  GPIO_InitStruct.Pull = GPIO_NOPULL;
  HAL_GPIO_Init(OTG_FS_OC_GPIO_Port, &GPIO_InitStruct);

  /*Configure GPIO pins : R3_Pin R6_Pin */
  GPIO_InitStruct.Pin = R3_Pin|R6_Pin;
  GPIO_InitStruct.Mode = GPIO_MODE_AF_PP;
  GPIO_InitStruct.Pull = GPIO_NOPULL;
  GPIO_InitStruct.Speed = GPIO_SPEED_FREQ_LOW;
  GPIO_InitStruct.Alternate = GPIO_AF9_LTDC;
  HAL_GPIO_Init(GPIOB, &GPIO_InitStruct);

  /*Configure GPIO pin : BOOT1_Pin */
  GPIO_InitStruct.Pin = BOOT1_Pin;
  GPIO_InitStruct.Mode = GPIO_MODE_INPUT;
  GPIO_InitStruct.Pull = GPIO_NOPULL;
  HAL_GPIO_Init(BOOT1_GPIO_Port, &GPIO_InitStruct);

  /*Configure GPIO pin : PG0 */
  GPIO_InitStruct.Pin = GPIO_PIN_0;
  GPIO_InitStruct.Mode = GPIO_MODE_INPUT;
  GPIO_InitStruct.Pull = GPIO_NOPULL;
  HAL_GPIO_Init(GPIOG, &GPIO_InitStruct);

  /*Configure GPIO pins : A11_Pin BA0_Pin BA1_Pin SDCLK_Pin
                           SDNCAS_Pin */
  GPIO_InitStruct.Pin = A11_Pin|BA0_Pin|BA1_Pin|SDCLK_Pin
                          |SDNCAS_Pin;
  GPIO_InitStruct.Mode = GPIO_MODE_AF_PP;
  GPIO_InitStruct.Pull = GPIO_NOPULL;
  GPIO_InitStruct.Speed = GPIO_SPEED_FREQ_VERY_HIGH;
  GPIO_InitStruct.Alternate = GPIO_AF12_FMC;
  HAL_GPIO_Init(GPIOG, &GPIO_InitStruct);

  /*Configure GPIO pins : D4_Pin D5_Pin D6_Pin D7_Pin
                           D8_Pin D9_Pin D10_Pin D11_Pin
                           D12_Pin NBL0_Pin NBL1_Pin */
  GPIO_InitStruct.Pin = D4_Pin|D5_Pin|D6_Pin|D7_Pin
                          |D8_Pin|D9_Pin|D10_Pin|D11_Pin
                          |D12_Pin|NBL0_Pin|NBL1_Pin;
  GPIO_InitStruct.Mode = GPIO_MODE_AF_PP;
  GPIO_InitStruct.Pull = GPIO_NOPULL;
  GPIO_InitStruct.Speed = GPIO_SPEED_FREQ_VERY_HIGH;
  GPIO_InitStruct.Alternate = GPIO_AF12_FMC;
  HAL_GPIO_Init(GPIOE, &GPIO_InitStruct);

  /*Configure GPIO pins : G4_Pin G5_Pin B7_Pin */
  GPIO_InitStruct.Pin = G4_Pin|G5_Pin|B7_Pin;
  GPIO_InitStruct.Mode = GPIO_MODE_AF_PP;
  GPIO_InitStruct.Pull = GPIO_NOPULL;
  GPIO_InitStruct.Speed = GPIO_SPEED_FREQ_LOW;
  GPIO_InitStruct.Alternate = GPIO_AF14_LTDC;
  HAL_GPIO_Init(GPIOB, &GPIO_InitStruct);

  /*Configure GPIO pins : OTG_HS_ID_Pin OTG_HS_DM_Pin OTG_HS_DP_Pin */
  GPIO_InitStruct.Pin = OTG_HS_ID_Pin|OTG_HS_DM_Pin|OTG_HS_DP_Pin;
  GPIO_InitStruct.Mode = GPIO_MODE_AF_PP;
  GPIO_InitStruct.Pull = GPIO_NOPULL;
  GPIO_InitStruct.Speed = GPIO_SPEED_FREQ_LOW;
  GPIO_InitStruct.Alternate = GPIO_AF12_OTG_HS_FS;
  HAL_GPIO_Init(GPIOB, &GPIO_InitStruct);

  /*Configure GPIO pin : VBUS_HS_Pin */
  GPIO_InitStruct.Pin = VBUS_HS_Pin;
  GPIO_InitStruct.Mode = GPIO_MODE_INPUT;
  GPIO_InitStruct.Pull = GPIO_NOPULL;
  HAL_GPIO_Init(VBUS_HS_GPIO_Port, &GPIO_InitStruct);

  /*Configure GPIO pins : D13_Pin D14_Pin D15_Pin D0_Pin
                           D1_Pin D2_Pin D3_Pin */
  GPIO_InitStruct.Pin = D13_Pin|D14_Pin|D15_Pin|D0_Pin
                          |D1_Pin|D2_Pin|D3_Pin;
  GPIO_InitStruct.Mode = GPIO_MODE_AF_PP;
  GPIO_InitStruct.Pull = GPIO_NOPULL;
  GPIO_InitStruct.Speed = GPIO_SPEED_FREQ_VERY_HIGH;
  GPIO_InitStruct.Alternate = GPIO_AF12_FMC;
  HAL_GPIO_Init(GPIOD, &GPIO_InitStruct);

  /*Configure GPIO pin : TE_Pin */
  GPIO_InitStruct.Pin = TE_Pin;
  GPIO_InitStruct.Mode = GPIO_MODE_INPUT;
  GPIO_InitStruct.Pull = GPIO_NOPULL;
  HAL_GPIO_Init(TE_GPIO_Port, &GPIO_InitStruct);

  /*Configure GPIO pins : RDX_Pin WRX_DCX_Pin */
  GPIO_InitStruct.Pin = RDX_Pin|WRX_DCX_Pin;
  GPIO_InitStruct.Mode = GPIO_MODE_OUTPUT_PP;
  GPIO_InitStruct.Pull = GPIO_NOPULL;
  GPIO_InitStruct.Speed = GPIO_SPEED_FREQ_LOW;
  HAL_GPIO_Init(GPIOD, &GPIO_InitStruct);

  /*Configure GPIO pins : R7_Pin DOTCLK_Pin B3_Pin */
  GPIO_InitStruct.Pin = R7_Pin|DOTCLK_Pin|B3_Pin;
  GPIO_InitStruct.Mode = GPIO_MODE_AF_PP;
  GPIO_InitStruct.Pull = GPIO_NOPULL;
  GPIO_InitStruct.Speed = GPIO_SPEED_FREQ_LOW;
  GPIO_InitStruct.Alternate = GPIO_AF14_LTDC;
  HAL_GPIO_Init(GPIOG, &GPIO_InitStruct);

  /*Configure GPIO pins : HSYNC_Pin G6_Pin R2_Pin */
  GPIO_InitStruct.Pin = HSYNC_Pin|G6_Pin|R2_Pin;
  GPIO_InitStruct.Mode = GPIO_MODE_AF_PP;
  GPIO_InitStruct.Pull = GPIO_NOPULL;
  GPIO_InitStruct.Speed = GPIO_SPEED_FREQ_LOW;
  GPIO_InitStruct.Alternate = GPIO_AF14_LTDC;
  HAL_GPIO_Init(GPIOC, &GPIO_InitStruct);

  /*Configure GPIO pin : PC9 */
  GPIO_InitStruct.Pin = GPIO_PIN_9;
  GPIO_InitStruct.Mode = GPIO_MODE_AF_PP;
  GPIO_InitStruct.Pull = GPIO_NOPULL;
  GPIO_InitStruct.Speed = GPIO_SPEED_FREQ_LOW;
  GPIO_InitStruct.Alternate = GPIO_AF0_MCO;
  HAL_GPIO_Init(GPIOC, &GPIO_InitStruct);

  /*Configure GPIO pin : PA8 */
  GPIO_InitStruct.Pin = GPIO_PIN_8;
  GPIO_InitStruct.Mode = GPIO_MODE_AF_PP;
  GPIO_InitStruct.Pull = GPIO_NOPULL;
  GPIO_InitStruct.Speed = GPIO_SPEED_FREQ_LOW;
  GPIO_InitStruct.Alternate = GPIO_AF0_MCO;
  HAL_GPIO_Init(GPIOA, &GPIO_InitStruct);

  /*Configure GPIO pins : G7_Pin B2_Pin */
  GPIO_InitStruct.Pin = G7_Pin|B2_Pin;
  GPIO_InitStruct.Mode = GPIO_MODE_AF_PP;
  GPIO_InitStruct.Pull = GPIO_NOPULL;
  GPIO_InitStruct.Speed = GPIO_SPEED_FREQ_LOW;
  GPIO_InitStruct.Alternate = GPIO_AF14_LTDC;
  HAL_GPIO_Init(GPIOD, &GPIO_InitStruct);

  /*Configure GPIO pins : G3_Pin B4_Pin */
  GPIO_InitStruct.Pin = G3_Pin|B4_Pin;
  GPIO_InitStruct.Mode = GPIO_MODE_AF_PP;
  GPIO_InitStruct.Pull = GPIO_NOPULL;
  GPIO_InitStruct.Speed = GPIO_SPEED_FREQ_LOW;
  GPIO_InitStruct.Alternate = GPIO_AF9_LTDC;
  HAL_GPIO_Init(GPIOG, &GPIO_InitStruct);

  /*Configure GPIO pins : LD3_Pin LD4_Pin */
  GPIO_InitStruct.Pin = LD3_Pin|LD4_Pin;
  GPIO_InitStruct.Mode = GPIO_MODE_OUTPUT_PP;
  GPIO_InitStruct.Pull = GPIO_NOPULL;
  GPIO_InitStruct.Speed = GPIO_SPEED_FREQ_LOW;
  HAL_GPIO_Init(GPIOG, &GPIO_InitStruct);

  /*Configure GPIO pins : La_input_Pin Si_input_Pin Doo_input_Pin */
  GPIO_InitStruct.Pin = La_input_Pin|Si_input_Pin|Doo_input_Pin;
  GPIO_InitStruct.Mode = GPIO_MODE_INPUT;
  GPIO_InitStruct.Pull = GPIO_PULLDOWN;
  HAL_GPIO_Init(GPIOB, &GPIO_InitStruct);

  /*Configure GPIO pins : SDCKE1_Pin SDNE1_Pin */
  GPIO_InitStruct.Pin = SDCKE1_Pin|SDNE1_Pin;
  GPIO_InitStruct.Mode = GPIO_MODE_AF_PP;
  GPIO_InitStruct.Pull = GPIO_NOPULL;
  GPIO_InitStruct.Speed = GPIO_SPEED_FREQ_VERY_HIGH;
  GPIO_InitStruct.Alternate = GPIO_AF12_FMC;
  HAL_GPIO_Init(GPIOB, &GPIO_InitStruct);

  /* EXTI interrupt init*/
  HAL_NVIC_SetPriority(EXTI0_IRQn, 0, 0);
  HAL_NVIC_EnableIRQ(EXTI0_IRQn);

}

/* USER CODE BEGIN 4 */
/**
  * @brief  Period elapsed callback in non-blocking mode
  * @param  htim TIM handle
  * @retval None
  */
void HAL_TIM_PeriodElapsedCallback(TIM_HandleTypeDef *htim)
{
  /* Prevent unused argument(s) compilation warning */

  /* NOTE : This function should not be modified, when the callback is needed,
            the HAL_TIM_PeriodElapsedCallback could be implemented in the user file
   */
}

/**
  * @brief  Period elapsed half complete callback in non-blocking mode
  * @param  htim TIM handle
  * @retval None
  */
void HAL_TIM_PeriodElapsedHalfCpltCallback(TIM_HandleTypeDef *htim)
{
  /* Prevent unused argument(s) compilation warning */

  /* NOTE : This function should not be modified, when the callback is needed,
            the HAL_TIM_PeriodElapsedHalfCpltCallback could be implemented in the user file
   */
}

/**
  * @brief  Output Compare callback in non-blocking mode
  * @param  htim TIM OC handle
  * @retval None
  */
void HAL_TIM_OC_DelayElapsedCallback(TIM_HandleTypeDef *htim)
{
  /* Prevent unused argument(s) compilation warning */
	printf("[callback]HAL_TIM_OC_DelayElapsedCallback\n");

  /* NOTE : This function should not be modified, when the callback is needed,
            the HAL_TIM_OC_DelayElapsedCallback could be implemented in the user file
   */
}

/**
  * @brief  Input Capture callback in non-blocking mode
  * @param  htim TIM IC handle
  * @retval None
  */
void HAL_TIM_IC_CaptureCallback(TIM_HandleTypeDef *htim)
{
  /* Prevent unused argument(s) compilation warning */
	printf("[callback]HAL_TIM_IC_CaptureCallback\n");

  /* NOTE : This function should not be modified, when the callback is needed,
            the HAL_TIM_IC_CaptureCallback could be implemented in the user file
   */
}

/**
  * @brief  Input Capture half complete callback in non-blocking mode
  * @param  htim TIM IC handle
  * @retval None
  */
void HAL_TIM_IC_CaptureHalfCpltCallback(TIM_HandleTypeDef *htim)
{
  /* Prevent unused argument(s) compilation warning */
	printf("[callback]HAL_TIM_IC_CaptureHalfCpltCallback\n");

  /* NOTE : This function should not be modified, when the callback is needed,
            the HAL_TIM_IC_CaptureHalfCpltCallback could be implemented in the user file
   */
}

/**
  * @brief  PWM Pulse finished callback in non-blocking mode
  * @param  htim TIM handle
  * @retval None
  */
void HAL_TIM_PWM_PulseFinishedCallback(TIM_HandleTypeDef *htim)
{
  /* Prevent unused argument(s) compilation warning */
	printf("[callback]HAL_TIM_PWM_PulseFinishedCallback\n");

  /* NOTE : This function should not be modified, when the callback is needed,
            the HAL_TIM_PWM_PulseFinishedCallback could be implemented in the user file
   */
}

/**
  * @brief  PWM Pulse finished half complete callback in non-blocking mode
  * @param  htim TIM handle
  * @retval None
  */
void HAL_TIM_PWM_PulseFinishedHalfCpltCallback(TIM_HandleTypeDef *htim)
{
  /* Prevent unused argument(s) compilation warning */
	printf("[callback]HAL_TIM_PWM_PulseFinishedHalfCpltCallback\n");

  /* NOTE : This function should not be modified, when the callback is needed,
            the HAL_TIM_PWM_PulseFinishedHalfCpltCallback could be implemented in the user file
   */
}

/**
  * @brief  Hall Trigger detection callback in non-blocking mode
  * @param  htim TIM handle
  * @retval None
  */
void HAL_TIM_TriggerCallback(TIM_HandleTypeDef *htim)
{
  /* Prevent unused argument(s) compilation warning */
	printf("[callback]HAL_TIM_TriggerCallback\n");

  /* NOTE : This function should not be modified, when the callback is needed,
            the HAL_TIM_TriggerCallback could be implemented in the user file
   */
}

/**
  * @brief  Hall Trigger detection half complete callback in non-blocking mode
  * @param  htim TIM handle
  * @retval None
  */
void HAL_TIM_TriggerHalfCpltCallback(TIM_HandleTypeDef *htim)
{
  /* Prevent unused argument(s) compilation warning */
	printf("[callback]HAL_TIM_TriggerHalfCpltCallback\n");

  /* NOTE : This function should not be modified, when the callback is needed,
            the HAL_TIM_TriggerHalfCpltCallback could be implemented in the user file
   */
}

/**
  * @brief  Timer error callback in non-blocking mode
  * @param  htim TIM handle
  * @retval None
  */
void HAL_TIM_ErrorCallback(TIM_HandleTypeDef *htim)
{
  /* Prevent unused argument(s) compilation warning */
	printf("[callback]HAL_TIM_ErrorCallback\n");

  /* NOTE : This function should not be modified, when the callback is needed,
            the HAL_TIM_ErrorCallback could be implemented in the user file
   */
}
/* USER CODE END 4 */

void Error_Handler(void)
{
  __disable_irq();
  while (1)
  {
  }
}
